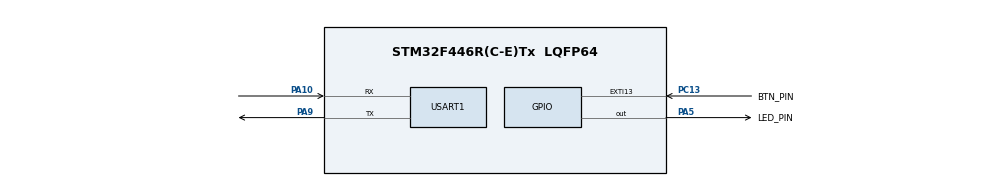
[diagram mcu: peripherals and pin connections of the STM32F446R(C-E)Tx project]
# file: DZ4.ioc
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Mcu.Family=STM32F4
Mcu.Name=STM32F446R(C-E)Tx
Mcu.Package=LQFP64
NVIC.EXTI15_10_IRQn=true\:0\:0\:false\:false\:true\:true\:true\:true
NVIC.PriorityGroup=NVIC_PRIORITYGROUP_4
NVIC.USART1_IRQn=true\:0\:0\:false\:false\:true\:true\:true\:true
PA10.Mode=Asynchronous
PA10.Signal=USART1_RX
PA13.Mode=Serial_Wire
PA13.Signal=SYS_JTMS-SWDIO
PA14.Mode=Serial_Wire
PA14.Signal=SYS_JTCK-SWCLK
PA5.GPIO_Label=LED_PIN
PA5.Signal=GPIO_Output
PA9.Mode=Asynchronous
PA9.Signal=USART1_TX
PC13.GPIO_Label=BTN_PIN
PC13.GPIO_ModeDefaultEXTI=GPIO_MODE_IT_FALLING
PC13.GPIO_PuPd=GPIO_PULLUP
PC13.Signal=GPXTI13
ProjectManager.HeapSize=0x200
ProjectManager.StackSize=0x400
ProjectManager.TargetToolchain=STM32CubeIDE
RCC.CortexFreq_Value=16000000
RCC.USBFreq_Value=96000000
RCC.VCOOutputFreq_Value=192000000
USART1.VirtualMode=VM_ASYNC
board=custom

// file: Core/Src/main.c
/* USER CODE BEGIN Header */
/**
  ******************************************************************************
  * @file           : main.c
  * @brief          : Main program body
  ******************************************************************************
  * @attention
  *
  * Copyright (c) 2026 STMicroelectronics.
  * All rights reserved.
  *
  * This software is licensed under terms that can be found in the LICENSE file
  * in the root directory of this software component.
  * If no LICENSE file comes with this software, it is provided AS-IS.
  *
  ******************************************************************************
  */
/* USER CODE END Header */
#include "main.h"

/* USER CODE BEGIN Includes */
#include "string.h"
/* USER CODE END Includes */

UART_HandleTypeDef huart1;

/* USER CODE BEGIN PV */
volatile uint8_t btn_pressed = 0;
volatile uint8_t cmd_recieved = 0;
uint8_t txData [3] = {0};
uint8_t rxData [3]= {0};
/* USER CODE END PV */

void SystemClock_Config(void);
static void MX_GPIO_Init(void);
static void MX_USART1_UART_Init(void);

/* USER CODE BEGIN 0 */
void HAL_GPIO_EXTI_Callback(uint16_t GPIO_Pin)
{
	if (GPIO_Pin == BTN_PIN_Pin)
	{
		btn_pressed = 1;
	}
}

void HAL_UART_RxCpltCallback(UART_HandleTypeDef *huart)
{
	if (huart->Instance == USART1)
		cmd_recieved = 1;
}

uint16_t crc_mb(uint8_t *buf, int len)
{
    uint16_t crc = 0xFFFF;

    for (int pos = 0; pos < len; pos++)
    {
        crc ^= (uint16_t)buf[pos]; // XOR byte into least significant byte of CRC

        for (int i = 8; i != 0; i--)
        {
            // If the LSB is set
            if ((crc & 0x0001) != 0)
            {
                crc >>= 1;     // Shift right
                crc ^= 0xA001; // XOR with polynomial
            }
            else
            {
                crc >>= 1;     // Just shift right
            }
        }
    }

    // Low and high bytes may need to be swapped depending on usage
    return crc;
}

/* USER CODE END 0 */

int main(void)
{

  /* MCU Configuration--------------------------------------------------------*/

  /* Reset of all peripherals, Initializes the Flash interface and the Systick. */
  HAL_Init();

  /* Configure the system clock */
  SystemClock_Config();

  /* Initialize all configured peripherals */
  MX_GPIO_Init();
  MX_USART1_UART_Init();
  /* USER CODE BEGIN 2 */
  HAL_UART_Receive_IT(&huart1, rxData, 3);

  txData[0] = 0x77;
  txData[1] = crc_mb(&txData[0], 1) >> 8;
  txData[2] = crc_mb(&txData[0], 1);
  /* USER CODE END 2 */

  /* Infinite loop */
  /* USER CODE BEGIN WHILE */
  while (1)
  {
	  if (btn_pressed)
	  {
		  HAL_UART_Transmit(&huart1, txData, 3, HAL_MAX_DELAY);
		  btn_pressed = 0;
	  }

	  if (cmd_recieved)
	  {
		  uint16_t crc = crc_mb(rxData, 1);

	      if ((rxData[1] == (uint8_t)(crc >> 8)) && (rxData[2] == (uint8_t)(crc & 0xFF)))
	      {
	    	  if (rxData[0] == 0x66)
	    	  {
	    		  HAL_GPIO_TogglePin(LED_PIN_GPIO_Port, LED_PIN_Pin);
	    	  }
	      }
	      memset(rxData, 0, 3);
		  cmd_recieved = 0;
		  HAL_UART_Receive_IT(&huart1, rxData, 3);
	  }
    /* USER CODE END WHILE */

  }
}

void SystemClock_Config(void)
{
  RCC_OscInitTypeDef RCC_OscInitStruct = {0};
  RCC_ClkInitTypeDef RCC_ClkInitStruct = {0};

  /** Configure the main internal regulator output voltage
  */
  __HAL_RCC_PWR_CLK_ENABLE();
  __HAL_PWR_VOLTAGESCALING_CONFIG(PWR_REGULATOR_VOLTAGE_SCALE3);

  /** Initializes the RCC Oscillators according to the specified parameters
  * in the RCC_OscInitTypeDef structure.
  */
  RCC_OscInitStruct.OscillatorType = RCC_OSCILLATORTYPE_HSI;
  RCC_OscInitStruct.HSIState = RCC_HSI_ON;
  RCC_OscInitStruct.HSICalibrationValue = RCC_HSICALIBRATION_DEFAULT;
  RCC_OscInitStruct.PLL.PLLState = RCC_PLL_NONE;
  if (HAL_RCC_OscConfig(&RCC_OscInitStruct) != HAL_OK)
  {
    Error_Handler();
  }

  /** Initializes the CPU, AHB and APB buses clocks
  */
  RCC_ClkInitStruct.ClockType = RCC_CLOCKTYPE_HCLK|RCC_CLOCKTYPE_SYSCLK
                              |RCC_CLOCKTYPE_PCLK1|RCC_CLOCKTYPE_PCLK2;
  RCC_ClkInitStruct.SYSCLKSource = RCC_SYSCLKSOURCE_HSI;
  RCC_ClkInitStruct.AHBCLKDivider = RCC_SYSCLK_DIV1;
  RCC_ClkInitStruct.APB1CLKDivider = RCC_HCLK_DIV1;
  RCC_ClkInitStruct.APB2CLKDivider = RCC_HCLK_DIV1;

  if (HAL_RCC_ClockConfig(&RCC_ClkInitStruct, FLASH_LATENCY_0) != HAL_OK)
  {
    Error_Handler();
  }
}

static void MX_USART1_UART_Init(void)
{

  huart1.Instance = USART1;
  huart1.Init.BaudRate = 115200;
  huart1.Init.WordLength = UART_WORDLENGTH_8B;
  huart1.Init.StopBits = UART_STOPBITS_1;
  huart1.Init.Parity = UART_PARITY_NONE;
  huart1.Init.Mode = UART_MODE_TX_RX;
  huart1.Init.HwFlowCtl = UART_HWCONTROL_NONE;
  huart1.Init.OverSampling = UART_OVERSAMPLING_16;
  if (HAL_UART_Init(&huart1) != HAL_OK)
  {
    Error_Handler();
  }

}

static void MX_GPIO_Init(void)
{
  GPIO_InitTypeDef GPIO_InitStruct = {0};

  /* GPIO Ports Clock Enable */
  __HAL_RCC_GPIOC_CLK_ENABLE();
  __HAL_RCC_GPIOA_CLK_ENABLE();

  /*Configure GPIO pin Output Level */
  HAL_GPIO_WritePin(LED_PIN_GPIO_Port, LED_PIN_Pin, GPIO_PIN_RESET);

  /*Configure GPIO pin : BTN_PIN_Pin */
  GPIO_InitStruct.Pin = BTN_PIN_Pin;
  GPIO_InitStruct.Mode = GPIO_MODE_IT_FALLING;
  GPIO_InitStruct.Pull = GPIO_PULLUP;
  HAL_GPIO_Init(BTN_PIN_GPIO_Port, &GPIO_InitStruct);

  /*Configure GPIO pin : LED_PIN_Pin */
  GPIO_InitStruct.Pin = LED_PIN_Pin;
  GPIO_InitStruct.Mode = GPIO_MODE_OUTPUT_PP;
  GPIO_InitStruct.Pull = GPIO_NOPULL;
  GPIO_InitStruct.Speed = GPIO_SPEED_FREQ_LOW;
  HAL_GPIO_Init(LED_PIN_GPIO_Port, &GPIO_InitStruct);

  /* EXTI interrupt init*/
  HAL_NVIC_SetPriority(EXTI15_10_IRQn, 0, 0);
  HAL_NVIC_EnableIRQ(EXTI15_10_IRQn);

}

void Error_Handler(void)
{
  __disable_irq();
  while (1)
  {
  }
}
